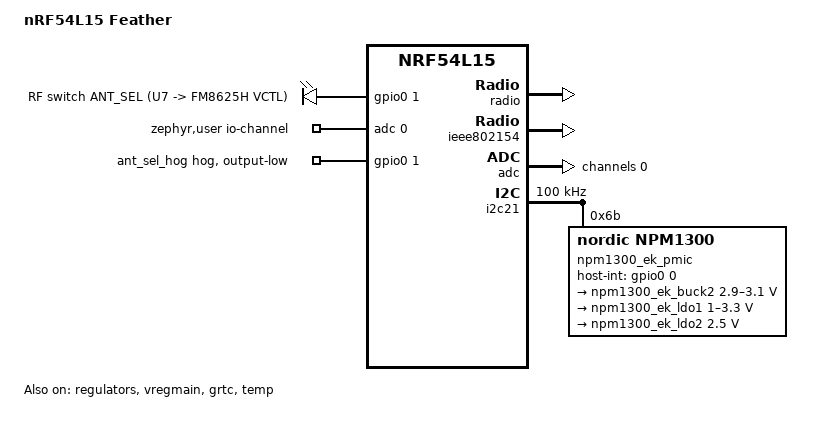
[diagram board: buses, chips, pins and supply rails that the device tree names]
/dts-v1/;

#include <nordic/nrf54l15_cpuapp.dtsi>
#include <dt-bindings/regulator/npm13xx.h>
#include <zephyr/dt-bindings/adc/adc.h>
#include <zephyr/dt-bindings/adc/nrf-saadc.h>
#include "nrf54l15_feather-pinctrl.dtsi"

/*
 * nRF54L15 Feather main board (nrf54l15_feather, run 5 schematic, 2026-10-28).
 * Derived from the soil_moisture board file; see ../../../README.md
 * "Feather run 5 firmware" for the sources of every setting below.
 *
 * Netlist facts used (kicad-cli export of nrf54l15_feather.kicad_sch, 2026-10-28):
 *   I2C_SCL  U6.4  P1.03     I2C_SDA  U6.5  P1.04
 *   PMIC_INT U6.23 P0.00 <- U2.8 GPIO1
 *   ANT_SEL  U6.24 P0.01 -> U7.2 (SN74AUP1G34, VCC = VRF) -> ANT_VCTL -> R11.6 (FM8625H VCTL)
 *   SENS_ID  U6.7  P1.06 (SAADC AIN2), R19 10k pull-up to VSENS
 *   VSENS    U2.29 LSOUT1/VOUTLDO1 (nPM1300 LDSW1), input LSIN1 = VDDIO
 *   VRF      U2.31 LSOUT2/VOUTLDO2 (nPM1300 LDSW2), input LSIN2 = VDDIO
 *   BUCK1    U2.1 VOUT1 (VSET1 grounded through R9 0R, so OFF), only L9/C18 on it
 */

/ {
	model = "nRF54L15 Feather";
	compatible = "others,nrf54l15-feather-nrf54l15-cpuapp";

	chosen {
		zephyr,code-partition = &slot0_partition;
		zephyr,sram = &cpuapp_sram;
		zephyr,flash-controller = &rram_controller;
		zephyr,flash = &cpuapp_rram;
		zephyr,console = &rtt0;
		zephyr,shell-uart = &rtt0;
		zephyr,bt-mon-uart = &rtt0;
		zephyr,bt-c2h-uart = &rtt0;
		zephyr,ieee802154 = &ieee802154;
	};

	aliases {
		ant-sel = &ant_sel;
		watchdog0 = &wdt31;
	};

	antennas {
		compatible = "gpio-leds";

		/* Active high = level on P0.01. Low = ANT-RF1 = chip antenna AE1 (FM8625H truth
		 * table: VCTL 0 -> RF1, 1 -> RF2 = U.FL). U7 is non-inverting.
		 */
		ant_sel: ant_sel {
			gpios = <&gpio0 1 GPIO_ACTIVE_HIGH>;
			label = "RF switch ANT_SEL (U7 -> FM8625H VCTL)";
		};
	};

	zephyr,user {
		/* SENS_ID, read only while VSENS is on */
		io-channels = <&adc 0>;
	};

	rtt0: rtt_uart0 {
		compatible = "segger,rtt-uart";
		status = "okay";
	};
};

#include <vendor/nordic/nrf54l15_cpuapp_partition.dtsi>

&cpuapp_sram {
	status = "okay";
};

/* X2 (32.768 kHz) is DNP on run 5. These nodes are kept from the soil_moisture file;
 * the LFCLK source is chosen in prj.conf / Kconfig, not here.
 */
&lfxo {
	load-capacitors = "internal";
	load-capacitance-femtofarad = <17000>;
};

&hfxo {
	load-capacitors = "internal";
	load-capacitance-femtofarad = <15000>;
};

&regulators {
	status = "okay";
};

&vregmain {
	status = "okay";
	regulator-initial-mode = <NRF5X_REG_MODE_DCDC>;
};

&grtc {
	owned-channels = <0 1 2 3 4 5 6 7 8 9 10 11>;
	child-owned-channels = <3 4 7 8 9 10 11>;
	status = "okay";
};

&gpio0 {
	status = "okay";

	/*
	 * Drive ANT_SEL (P0.01) low (chip antenna) as early as the GPIO hog init allows
	 * (POST_KERNEL, priority 41), well before the nPM1300 regulator driver (priority
	 * 85/86) turns VRF on. U7's input must not float while VRF is up (SCES603K).
	 */
	ant_sel_hog: ant-sel-hog {
		gpio-hog;
		gpios = <1 GPIO_ACTIVE_HIGH>;
		output-low;
	};
};

&gpio1 {
	status = "okay";
};

&gpio2 {
	status = "okay";
};

&gpiote20 {
	status = "okay";
};

&gpiote30 {
	status = "okay";
};

&radio {
	status = "okay";
};

&ieee802154 {
	status = "okay";
};

&temp {
	status = "okay";
};

&clock {
	status = "okay";
};

/* SENS_ID on P1.06 = SAADC AIN2. R19 = 10k to VSENS (3.0 V); the sensor board puts its
 * ID resistor to GND, so the pin sits at VSENS * Rid / (Rid + 10k), 0..VSENS (open).
 * Gain 1/4 on the internal reference gives a 3.6 V full scale. 40 us acquisition
 * covers up to about 10k source impedance.
 */
&adc {
	status = "okay";
	#address-cells = <1>;
	#size-cells = <0>;

	channel@0 {
		reg = <0>;
		zephyr,gain = "ADC_GAIN_1_4";
		zephyr,reference = "ADC_REF_INTERNAL";
		zephyr,acquisition-time = <ADC_ACQ_TIME(ADC_ACQ_TIME_MICROSECONDS, 40)>;
		zephyr,input-positive = <NRF_SAADC_AIN2>; /* P1.06 SENS_ID */
		zephyr,resolution = <12>;
		zephyr,oversampling = <4>;
	};
};

&uart20 {
	status = "disabled";
};

&uart30 {
	status = "disabled";
};

&i2c21 {
	compatible = "nordic,nrf-twim";
	status = "okay";
	clock-frequency = <I2C_BITRATE_STANDARD>;
	pinctrl-0 = <&i2c21_default>;
	pinctrl-1 = <&i2c21_sleep>;
	pinctrl-names = "default", "sleep";

	npm1300_ek_pmic: pmic@6b {
		compatible = "nordic,npm1300";
		reg = <0x6b>;
		host-int-gpios = <&gpio0 0 GPIO_ACTIVE_HIGH>;
		pmic-int-pin = <1>;

		npm1300_ek_gpio: gpio-controller {
			compatible = "nordic,npm1300-gpio";
			gpio-controller;
			#gpio-cells = <2>;
			ngpios = <5>;
		};

		npm1300_ek_regulators: regulators {
			compatible = "nordic,npm1300-regulator";

			/*
			 * BUCK1 is deliberately NOT declared. VSET1 is grounded through R9 (0R),
			 * which the nPM1300 PS defines as "0 V (OFF)", and L9/C18 are the only
			 * load. With no BUCK1 child node the regulator driver creates no device
			 * for it and nothing in this firmware can write BUCK1ENASET or its
			 * voltage registers. Do not add a BUCK1 node.
			 */

			/* BUCK2 = VDDIO, 3.0 V set by the VSET2 strap (R10 150k). No init-microvolt,
			 * so the driver does not write a software voltage; it only reads the output
			 * voltage and snaps it into the window if the strap is wrong.
			 */
			npm1300_ek_buck2: BUCK2 {
				regulator-min-microvolt = <2900000>;
				regulator-max-microvolt = <3100000>;
				regulator-always-on;
			};

			/*
			 * LDSW1 = VSENS, 3.0 V from VDDIO via LSIN1 (U2.29 to CN1.2, C45, R15-R19).
			 * Left in its reset state (off, load-switch mode). The application turns it
			 * on only around SENS_ID reads or when a sensor board needs power.
			 */
			npm1300_ek_ldo1: LDO1 {
				regulator-min-microvolt = <1000000>;
				regulator-max-microvolt = <3300000>;
			};

			/*
			 * LDSW2 = VRF, LDO mode, 2.5 V, for R11 (FM8625H VDD 1.65-3.3 V) and U7
			 * (SN74AUP1G34 VCC). Input LSIN2 = VDDIO 3.0 V (VINLDO 2.6 V to VSYS).
			 * The driver (regulator_common_init) applies, in this order: initial mode
			 * (LDOSEL = LDO), init voltage (VOUTSEL 2.5 V), then enables the output
			 * (always-on) and waits startup-delay-us. Always on from boot on purpose:
			 * the radio can be used at any time and the load is about 50-90 uA.
			 * startup-delay-us 1000 is a conservative software wait for the output
			 * to rise and the switch to settle (the switch needs about 10 us after
			 * power-up); the real ramp time is a bench item.
			 */
			npm1300_ek_ldo2: LDO2 {
				regulator-min-microvolt = <2500000>;
				regulator-max-microvolt = <2500000>;
				regulator-init-microvolt = <2500000>;
				regulator-initial-mode = <NPM13XX_LDSW_MODE_LDO>;
				regulator-always-on;
				startup-delay-us = <1000>;
			};
		};

		npm1300_ek_charger: charger {
			compatible = "nordic,npm1300-charger";
			term-microvolt = <4150000>;
			term-warm-microvolt = <4000000>;
			/* Run 5: charge current capped at 300 mA or less (0.25 mm VBAT/VBUS tracks).
			 * 150 mA is kept from the soil_moisture file; raise to at most 300000.
			 */
			current-microamp = <150000>;
			dischg-limit-microamp = <1000000>;
			/* VBUS input limit 300 mA (binding range 100 mA to 1500 mA, 100 mA steps).
			 * Leaves about 150 mA for the system next to 150 mA charge.
			 */
			vbus-limit-microamp = <300000>;
			/* R8 = Murata NCP15XH103F03RC, 10k, B25/50 = 3380 K */
			thermistor-ohms = <10000>;
			thermistor-beta = <3380>;
			charging-enable;
		};

		npm1300_ek_leds: leds {
			compatible = "nordic,npm1300-led";
			nordic,led0-mode = "error";
			nordic,led1-mode = "charging";
			nordic,led2-mode = "host";
		};
	};
};
